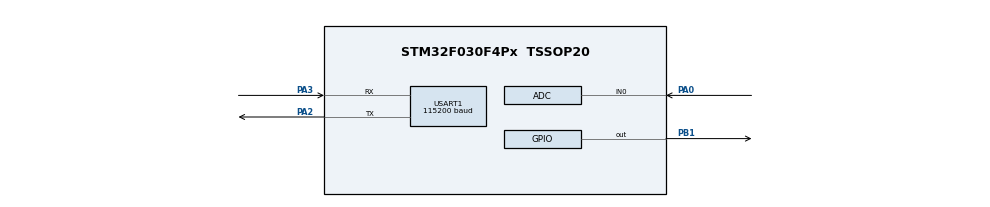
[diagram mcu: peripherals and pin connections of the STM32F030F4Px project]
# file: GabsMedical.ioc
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Mcu.Family=STM32F0
Mcu.Name=STM32F030F4Px
Mcu.Package=TSSOP20
NVIC.TIM14_IRQn=true\:0\:0\:false\:false\:true\:true\:true
PA0.Mode=IN0
PA0.Signal=ADC_IN0
PA13.Mode=Serial_Wire
PA13.Signal=SYS_SWDIO
PA14.Mode=Serial_Wire
PA14.Signal=SYS_SWCLK
PA2.Mode=Asynchronous
PA2.Signal=USART1_TX
PA3.Mode=Asynchronous
PA3.Signal=USART1_RX
PB1.Signal=GPIO_Output
ProjectManager.HeapSize=0x200
ProjectManager.StackSize=0x400
ProjectManager.TargetToolchain=TrueSTUDIO
TIM14.Period=99
TIM14.Prescaler=7999
USART1.BaudRate=115200
USART1.VirtualMode-Asynchronous=VM_ASYNC
VP_TIM14_VS_ClockSourceINT.Mode=Enable_Timer
board=custom

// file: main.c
/* USER CODE BEGIN Header */
/**
  ******************************************************************************
  * @file           : main.c
  * @brief          : Main program body
  ******************************************************************************
  * @attention
  *
  * <h2><center>&copy; Copyright (c) 2019 STMicroelectronics.
  * All rights reserved.</center></h2>
  *
  * This software component is licensed by ST under BSD 3-Clause license,
  * the "License"; You may not use this file except in compliance with the
  * License. You may obtain a copy of the License at:
  *                        opensource.org/licenses/BSD-3-Clause
  *
  ******************************************************************************
  */
/* USER CODE END Header */

#include "main.h"
#include "stm32f0xx.h"
//#include "stm32f0xx_hal.h"
//#include "stm32f0xx_hal_def.h"
//#include "system_stm32f0xx.h"
#include "stdbool.h"
#include <stdbool.h>
//#include "string.h"

ADC_HandleTypeDef hadc;

TIM_HandleTypeDef htim14;

UART_HandleTypeDef huart1;

/* USER CODE BEGIN PV */
//unsigned long currentMillis = millis();
const unsigned long delayTime = 10;
unsigned long previousMillis = 0;
unsigned long currentMillis;
/* USER CODE END PV */

void SystemClock_Config(void);
static void MX_GPIO_Init(void);
static void MX_ADC_Init(void);
static void MX_USART1_UART_Init(void);
static void MX_TIM14_Init(void);
int myTimer1(long delayTime, long currentMillis);
void int_to_string(int value, char* str, int size);
void strcopy(char* destination, char* source, int begin, int end);

/* USER CODE BEGIN 0 */
void int_to_string(int value, char* str, int size) {
	for(int i = size-1; i >= 0; i--) {
		str[i] ='0' + value%10;
		value /= 10;
	}
}

void strcopy(char* destination, char* source, int begin, int end) {
	for(int i = begin; i <= end; i++) {
		destination[i] = source[i-begin];
	}
}

int HAL_TIM_PeriodElapsedCallBack(TIM_HandleTypeDef *htim14){
	if(currentMillis - previousMillis >= delayTime){
		previousMillis = currentMillis;
		return 1;
	}else{
		return 0;
	}
}

// First event timer
int myTimer1(long delayTime, long currentMillis){
  if(currentMillis - previousMillis >= delayTime){
	  previousMillis = currentMillis;
	  return 1;
  }else{
	  return 0;
  }
}

/*
 */
/* USER CODE END 0 */

int main(void){

  /* MCU Configuration--------------------------------------------------------*/

  /* Reset of all peripherals, Initializes the Flash interface and the Systick. */
  HAL_Init();

  /* Configure the system clock */
  SystemClock_Config();

  /* Initialize all configured peripherals */
  MX_GPIO_Init();
  MX_ADC_Init();
  MX_USART1_UART_Init();
  MX_TIM14_Init();

  /* USER CODE BEGIN 2 */

  //Variables for Calculate BPM
  // Up 2072 Low 1957 ValorCris -> Up 2000 Low 1357
  int UpperThreshold = 2000;
  int LowerThreshold = 1357;
  int Signal = 0;
  float BPM = 0.0;
  bool IgnoreReading = false;
  bool FirstPulseDetected = false;
  unsigned long FirstPulseTime = 0;
  unsigned long SecondPulseTime = 0;
  unsigned long PulseInterval = 0;

  //Variables for UART Communication
  char msg[50];
  char valueStr[4];
  HAL_StatusTypeDef x;
  HAL_StatusTypeDef y;
  uint8_t buf1[100];
  memset(buf1,0,100);

  //Message to thingspeak
  strcpy(msg,"GET /update?api_key=DY2N954X12ZN5Q6K&field1=0000\r\n");
  //ESP answers OK
  x = HAL_UART_Transmit(&huart1, (uint8_t *)"AT\r\n", 4, 2000);
  y = HAL_UART_Receive(&huart1, buf1, 100, 3000);
  HAL_Delay(300);
  //Sets the Wi-Fi mode as station mode (client)
  HAL_UART_Transmit(&huart1, (uint8_t *)"AT+CWMODE=1\r\n", 13, 2000);
  HAL_UART_Receive(&huart1, buf1, 100, 3000);
  HAL_Delay(300);
  //Name and password of the Wi-Fi
  HAL_UART_Transmit(&huart1, (uint8_t *)"AT+CWJAP=\"REDE_WIFI\",\"SENHA404\"\r\n", 50, 2000);
  HAL_UART_Receive(&huart1, buf1, 100, 10000);
  HAL_Delay(300);
  //Sets the communication mode as single mode
  HAL_UART_Transmit(&huart1, (uint8_t *)"AT+CIPMUX=0\r\n", 13, 2000);
  HAL_UART_Receive(&huart1, buf1, 100, 2000);

  /* USER CODE END 2 */
  HAL_TIM_Base_Start_IT(&htim14);
  /* Infinite loop */
  /* USER CODE BEGIN WHILE */
  while (1){

	  HAL_ADC_Start(&hadc);
	  Signal = HAL_ADC_GetValue(&hadc);

      // Heart beat leading edge detected.
      if(Signal < UpperThreshold && IgnoreReading == false){
    	  if(FirstPulseDetected == false){
    		  FirstPulseTime = HAL_GetTick();
    		  FirstPulseDetected = true;
    	  }else{
    		  SecondPulseTime = HAL_GetTick();
    		  PulseInterval = SecondPulseTime - FirstPulseTime;
    		  FirstPulseTime = SecondPulseTime;
    	  }
    	  IgnoreReading = true;
      }

      // Heart beat trailing edge detected.
      if(Signal > LowerThreshold){
    	  IgnoreReading = false;
      }

      BPM = ((1.0/Signal)) * 60.0 * 1000;
	  HAL_Delay(1000);

	  //Add this value to the message
	  int_to_string(BPM, valueStr, 4);
	  strcopy(msg, valueStr, 44, 47);
	  //Starts the communication
	  HAL_UART_Transmit(&huart1, (uint8_t *)"AT+CIPSTART=\"TCP\",\"api.thingspeak.com\",80\r\n", 70, 2000);
	  HAL_UART_Receive(&huart1, buf1, 100, 5000);
	  HAL_Delay(1000);
	  //Inform the number of bytes will be sended
	  HAL_UART_Transmit(&huart1, (uint8_t *)"AT+CIPSEND=50\r\n", 15, 2000);
	  HAL_UART_Receive(&huart1, buf1, 100, 5000);
	  HAL_Delay(500);
	  //Transmit the message to thinkspeak through the ESP
	  HAL_UART_Transmit(&huart1, msg, 50, 2000);
	  HAL_UART_Receive(&huart1, buf1, 100, 5000);
	  HAL_Delay(20000);

	  /* USER CODE END WHILE */
  }
}
void SystemClock_Config(void){
  RCC_OscInitTypeDef RCC_OscInitStruct = {0};
  RCC_ClkInitTypeDef RCC_ClkInitStruct = {0};
  RCC_PeriphCLKInitTypeDef PeriphClkInit = {0};

  /** Initializes the CPU, AHB and APB busses clocks
  */
  RCC_OscInitStruct.OscillatorType = RCC_OSCILLATORTYPE_HSI|RCC_OSCILLATORTYPE_HSI14;
  RCC_OscInitStruct.HSIState = RCC_HSI_ON;
  RCC_OscInitStruct.HSI14State = RCC_HSI14_ON;
  RCC_OscInitStruct.HSICalibrationValue = RCC_HSICALIBRATION_DEFAULT;
  RCC_OscInitStruct.HSI14CalibrationValue = 16;
  RCC_OscInitStruct.PLL.PLLState = RCC_PLL_NONE;
  if (HAL_RCC_OscConfig(&RCC_OscInitStruct) != HAL_OK){
    Error_Handler();
  }
  /** Initializes the CPU, AHB and APB busses clocks
  */
  RCC_ClkInitStruct.ClockType = RCC_CLOCKTYPE_HCLK|RCC_CLOCKTYPE_SYSCLK
                              |RCC_CLOCKTYPE_PCLK1;
  RCC_ClkInitStruct.SYSCLKSource = RCC_SYSCLKSOURCE_HSI;
  RCC_ClkInitStruct.AHBCLKDivider = RCC_SYSCLK_DIV1;
  RCC_ClkInitStruct.APB1CLKDivider = RCC_HCLK_DIV1;

  if (HAL_RCC_ClockConfig(&RCC_ClkInitStruct, FLASH_LATENCY_0) != HAL_OK){
    Error_Handler();
  }
  PeriphClkInit.PeriphClockSelection = RCC_PERIPHCLK_USART1;
  PeriphClkInit.Usart1ClockSelection = RCC_USART1CLKSOURCE_PCLK1;
  if (HAL_RCCEx_PeriphCLKConfig(&PeriphClkInit) != HAL_OK){
    Error_Handler();
  }
}

static void MX_ADC_Init(void){

  ADC_ChannelConfTypeDef sConfig = {0};

  /** Configure the global features of the ADC (Clock, Resolution, Data Alignment and number of conversion)
  */
  hadc.Instance = ADC1;
  hadc.Init.ClockPrescaler = ADC_CLOCK_ASYNC_DIV1;
  hadc.Init.Resolution = ADC_RESOLUTION_12B;
  hadc.Init.DataAlign = ADC_DATAALIGN_RIGHT;
  hadc.Init.ScanConvMode = ADC_SCAN_DIRECTION_FORWARD;
  hadc.Init.EOCSelection = ADC_EOC_SINGLE_CONV;
  hadc.Init.LowPowerAutoWait = DISABLE;
  hadc.Init.LowPowerAutoPowerOff = DISABLE;
  hadc.Init.ContinuousConvMode = DISABLE;
  hadc.Init.DiscontinuousConvMode = DISABLE;
  hadc.Init.ExternalTrigConv = ADC_SOFTWARE_START;
  hadc.Init.ExternalTrigConvEdge = ADC_EXTERNALTRIGCONVEDGE_NONE;
  hadc.Init.DMAContinuousRequests = DISABLE;
  hadc.Init.Overrun = ADC_OVR_DATA_PRESERVED;
  if (HAL_ADC_Init(&hadc) != HAL_OK){
    Error_Handler();
  }
  /** Configure for the selected ADC regular channel to be converted.
  */
  sConfig.Channel = ADC_CHANNEL_0;
  sConfig.Rank = ADC_RANK_CHANNEL_NUMBER;
  sConfig.SamplingTime = ADC_SAMPLETIME_1CYCLE_5;
  if (HAL_ADC_ConfigChannel(&hadc, &sConfig) != HAL_OK){
    Error_Handler();
  }

}

static void MX_TIM14_Init(void){

  htim14.Instance = TIM14;
  htim14.Init.Prescaler = 7999;
  htim14.Init.CounterMode = TIM_COUNTERMODE_UP;
  htim14.Init.Period = 99;
  htim14.Init.ClockDivision = TIM_CLOCKDIVISION_DIV1;
  htim14.Init.AutoReloadPreload = TIM_AUTORELOAD_PRELOAD_DISABLE;
  if (HAL_TIM_Base_Init(&htim14) != HAL_OK){
    Error_Handler();
  }

}

static void MX_USART1_UART_Init(void){

  huart1.Instance = USART1;
  huart1.Init.BaudRate = 115200;
  huart1.Init.WordLength = UART_WORDLENGTH_8B;
  huart1.Init.StopBits = UART_STOPBITS_1;
  huart1.Init.Parity = UART_PARITY_NONE;
  huart1.Init.Mode = UART_MODE_TX_RX;
  huart1.Init.HwFlowCtl = UART_HWCONTROL_NONE;
  huart1.Init.OverSampling = UART_OVERSAMPLING_16;
  huart1.Init.OneBitSampling = UART_ONE_BIT_SAMPLE_DISABLE;
  huart1.AdvancedInit.AdvFeatureInit = UART_ADVFEATURE_NO_INIT;
  if (HAL_UART_Init(&huart1) != HAL_OK){
    Error_Handler();
  }
}

static void MX_GPIO_Init(void){
  GPIO_InitTypeDef GPIO_InitStruct = {0};

  /* GPIO Ports Clock Enable */
  __HAL_RCC_GPIOA_CLK_ENABLE();
  __HAL_RCC_GPIOB_CLK_ENABLE();

  /*Configure GPIO pin Output Level */
  HAL_GPIO_WritePin(GPIOB, GPIO_PIN_1, GPIO_PIN_RESET);

  /*Configure GPIO pin : PB1 */
  GPIO_InitStruct.Pin = GPIO_PIN_1;
  GPIO_InitStruct.Mode = GPIO_MODE_OUTPUT_PP;
  GPIO_InitStruct.Pull = GPIO_NOPULL;
  GPIO_InitStruct.Speed = GPIO_SPEED_FREQ_LOW;
  HAL_GPIO_Init(GPIOB, &GPIO_InitStruct);

}

void Error_Handler(void){
}

/************************ (C) COPYRIGHT STMicroelectronics *****END OF FILE****/
